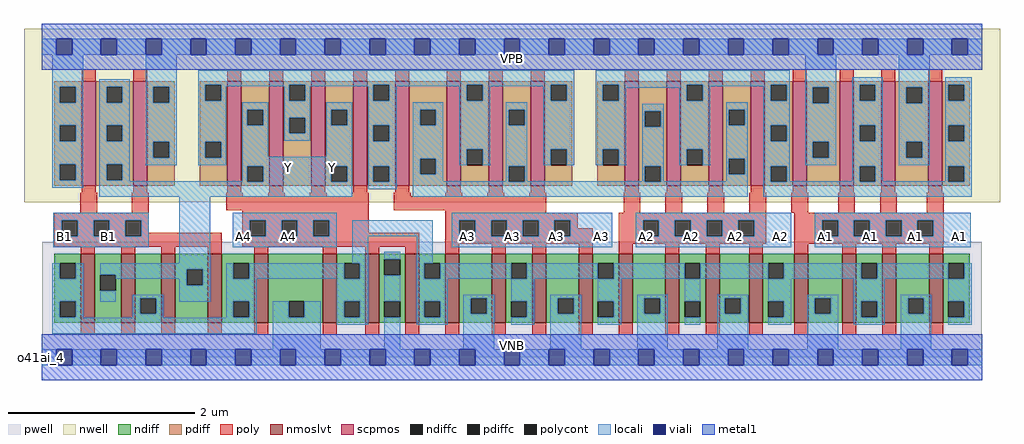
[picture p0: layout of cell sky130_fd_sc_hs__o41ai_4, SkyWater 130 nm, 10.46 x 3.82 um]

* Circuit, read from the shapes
.subckt sky130_fd_sc_hs__o41ai_4 A1 A2 A3 A4 B1 VGND VNB VPB VPWR Y
XM1 Y B1 n1 VNB sky130_fd_pr__nfet_01v8_lvt w=0.74 l=0.15 m=4
XM2 VGND A4 n1 VNB sky130_fd_pr__nfet_01v8_lvt w=0.74 l=0.15 m=4
XM3 VGND A3 n1 VNB sky130_fd_pr__nfet_01v8_lvt w=0.74 l=0.15 m=4
XM4 VGND A2 n1 VNB sky130_fd_pr__nfet_01v8_lvt w=0.74 l=0.15 m=4
XM5 VGND A1 n1 VNB sky130_fd_pr__nfet_01v8_lvt w=0.74 l=0.15 m=4
XM6 Y B1 VPWR VPB sky130_fd_pr__pfet_01v8 w=1.12 l=0.15 m=2
XM7 Y A4 n2 VPB sky130_fd_pr__pfet_01v8 w=1.12 l=0.15 m=4
XM8 n3 A3 n2 VPB sky130_fd_pr__pfet_01v8 w=1.12 l=0.15 m=4
XM9 n3 A2 n4 VPB sky130_fd_pr__pfet_01v8 w=1.12 l=0.15 m=4
XM10 VPWR A1 n4 VPB sky130_fd_pr__pfet_01v8 w=1.12 l=0.15 m=4
.ends

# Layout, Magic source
magic
tech sky130A
magscale 1 2
<< nwell >>
rect -38 332 2054 704
<< pwell >>
rect 1 49 2015 248
rect 0 0 2016 49
<< scpmos >>
rect 86 368 116 592
rect 196 368 226 592
rect 398 368 428 592
rect 488 368 518 592
rect 578 368 608 592
rect 668 368 698 592
rect 758 368 788 592
rect 868 368 898 592
rect 958 368 988 592
rect 1048 368 1078 592
rect 1250 368 1280 592
rect 1340 368 1370 592
rect 1430 368 1460 592
rect 1520 368 1550 592
rect 1610 368 1640 592
rect 1710 368 1740 592
rect 1800 368 1830 592
rect 1900 368 1930 592
<< nmoslvt >>
rect 84 74 114 222
rect 170 74 200 222
rect 256 74 286 222
rect 356 74 386 222
rect 456 74 486 222
rect 602 74 632 222
rect 693 74 723 222
rect 779 74 809 222
rect 865 74 895 222
rect 965 74 995 222
rect 1051 74 1081 222
rect 1151 74 1181 222
rect 1237 74 1267 222
rect 1337 74 1367 222
rect 1423 74 1453 222
rect 1516 74 1546 222
rect 1613 74 1643 222
rect 1716 74 1746 222
rect 1802 74 1832 222
rect 1902 74 1932 222
<< ndiff >>
rect 27 202 84 222
rect 27 168 39 202
rect 73 168 84 202
rect 27 120 84 168
rect 27 86 39 120
rect 73 86 84 120
rect 27 74 84 86
rect 114 177 170 222
rect 114 143 125 177
rect 159 143 170 177
rect 114 74 170 143
rect 200 127 256 222
rect 200 93 211 127
rect 245 93 256 127
rect 200 74 256 93
rect 286 189 356 222
rect 286 155 311 189
rect 345 155 356 189
rect 286 74 356 155
rect 386 202 456 222
rect 386 168 411 202
rect 445 168 456 202
rect 386 120 456 168
rect 386 86 411 120
rect 445 86 456 120
rect 386 74 456 86
rect 486 120 602 222
rect 486 86 529 120
rect 563 86 602 120
rect 486 74 602 86
rect 632 202 693 222
rect 632 168 648 202
rect 682 168 693 202
rect 632 120 693 168
rect 632 86 648 120
rect 682 86 693 120
rect 632 74 693 86
rect 723 210 779 222
rect 723 176 734 210
rect 768 176 779 210
rect 723 120 779 176
rect 723 86 734 120
rect 768 86 779 120
rect 723 74 779 86
rect 809 202 865 222
rect 809 168 820 202
rect 854 168 865 202
rect 809 120 865 168
rect 809 86 820 120
rect 854 86 865 120
rect 809 74 865 86
rect 895 127 965 222
rect 895 93 920 127
rect 954 93 965 127
rect 895 74 965 93
rect 995 202 1051 222
rect 995 168 1006 202
rect 1040 168 1051 202
rect 995 120 1051 168
rect 995 86 1006 120
rect 1040 86 1051 120
rect 995 74 1051 86
rect 1081 127 1151 222
rect 1081 93 1106 127
rect 1140 93 1151 127
rect 1081 74 1151 93
rect 1181 202 1237 222
rect 1181 168 1192 202
rect 1226 168 1237 202
rect 1181 120 1237 168
rect 1181 86 1192 120
rect 1226 86 1237 120
rect 1181 74 1237 86
rect 1267 127 1337 222
rect 1267 93 1292 127
rect 1326 93 1337 127
rect 1267 74 1337 93
rect 1367 202 1423 222
rect 1367 168 1378 202
rect 1412 168 1423 202
rect 1367 120 1423 168
rect 1367 86 1378 120
rect 1412 86 1423 120
rect 1367 74 1423 86
rect 1453 127 1516 222
rect 1453 93 1464 127
rect 1498 93 1516 127
rect 1453 74 1516 93
rect 1546 202 1613 222
rect 1546 168 1557 202
rect 1591 168 1613 202
rect 1546 120 1613 168
rect 1546 86 1557 120
rect 1591 86 1613 120
rect 1546 74 1613 86
rect 1643 127 1716 222
rect 1643 93 1657 127
rect 1691 93 1716 127
rect 1643 74 1716 93
rect 1746 202 1802 222
rect 1746 168 1757 202
rect 1791 168 1802 202
rect 1746 120 1802 168
rect 1746 86 1757 120
rect 1791 86 1802 120
rect 1746 74 1802 86
rect 1832 127 1902 222
rect 1832 93 1857 127
rect 1891 93 1902 127
rect 1832 74 1902 93
rect 1932 202 1989 222
rect 1932 168 1943 202
rect 1977 168 1989 202
rect 1932 120 1989 168
rect 1932 86 1943 120
rect 1977 86 1989 120
rect 1932 74 1989 86
<< pdiff >>
rect 27 580 86 592
rect 27 546 39 580
rect 73 546 86 580
rect 27 497 86 546
rect 27 463 39 497
rect 73 463 86 497
rect 27 414 86 463
rect 27 380 39 414
rect 73 380 86 414
rect 27 368 86 380
rect 116 580 196 592
rect 116 546 139 580
rect 173 546 196 580
rect 116 497 196 546
rect 116 463 139 497
rect 173 463 196 497
rect 116 414 196 463
rect 116 380 139 414
rect 173 380 196 414
rect 116 368 196 380
rect 226 580 285 592
rect 226 546 239 580
rect 273 546 285 580
rect 226 462 285 546
rect 226 428 239 462
rect 273 428 285 462
rect 226 368 285 428
rect 339 584 398 592
rect 339 550 351 584
rect 385 550 398 584
rect 339 462 398 550
rect 339 428 351 462
rect 385 428 398 462
rect 339 368 398 428
rect 428 531 488 592
rect 428 497 441 531
rect 475 497 488 531
rect 428 410 488 497
rect 428 376 441 410
rect 475 376 488 410
rect 428 368 488 376
rect 518 584 578 592
rect 518 550 531 584
rect 565 550 578 584
rect 518 514 578 550
rect 518 480 531 514
rect 565 480 578 514
rect 518 368 578 480
rect 608 531 668 592
rect 608 497 621 531
rect 655 497 668 531
rect 608 410 668 497
rect 608 376 621 410
rect 655 376 668 410
rect 608 368 668 376
rect 698 584 758 592
rect 698 550 711 584
rect 745 550 758 584
rect 698 497 758 550
rect 698 463 711 497
rect 745 463 758 497
rect 698 410 758 463
rect 698 376 711 410
rect 745 376 758 410
rect 698 368 758 376
rect 788 531 868 592
rect 788 497 811 531
rect 845 497 868 531
rect 788 426 868 497
rect 788 392 811 426
rect 845 392 868 426
rect 788 368 868 392
rect 898 584 958 592
rect 898 550 911 584
rect 945 550 958 584
rect 898 446 958 550
rect 898 412 911 446
rect 945 412 958 446
rect 898 368 958 412
rect 988 531 1048 592
rect 988 497 1001 531
rect 1035 497 1048 531
rect 988 410 1048 497
rect 988 376 1001 410
rect 1035 376 1048 410
rect 988 368 1048 376
rect 1078 584 1137 592
rect 1078 550 1091 584
rect 1125 550 1137 584
rect 1078 446 1137 550
rect 1078 412 1091 446
rect 1125 412 1137 446
rect 1078 368 1137 412
rect 1191 584 1250 592
rect 1191 550 1203 584
rect 1237 550 1250 584
rect 1191 446 1250 550
rect 1191 412 1203 446
rect 1237 412 1250 446
rect 1191 368 1250 412
rect 1280 528 1340 592
rect 1280 494 1293 528
rect 1327 494 1340 528
rect 1280 410 1340 494
rect 1280 376 1293 410
rect 1327 376 1340 410
rect 1280 368 1340 376
rect 1370 584 1430 592
rect 1370 550 1383 584
rect 1417 550 1430 584
rect 1370 446 1430 550
rect 1370 412 1383 446
rect 1417 412 1430 446
rect 1370 368 1430 412
rect 1460 531 1520 592
rect 1460 497 1473 531
rect 1507 497 1520 531
rect 1460 426 1520 497
rect 1460 392 1473 426
rect 1507 392 1520 426
rect 1460 368 1520 392
rect 1550 584 1610 592
rect 1550 550 1563 584
rect 1597 550 1610 584
rect 1550 497 1610 550
rect 1550 463 1563 497
rect 1597 463 1610 497
rect 1550 410 1610 463
rect 1550 376 1563 410
rect 1597 376 1610 410
rect 1550 368 1610 376
rect 1640 579 1710 592
rect 1640 545 1653 579
rect 1687 545 1710 579
rect 1640 462 1710 545
rect 1640 428 1653 462
rect 1687 428 1710 462
rect 1640 368 1710 428
rect 1740 584 1800 592
rect 1740 550 1753 584
rect 1787 550 1800 584
rect 1740 497 1800 550
rect 1740 463 1753 497
rect 1787 463 1800 497
rect 1740 410 1800 463
rect 1740 376 1753 410
rect 1787 376 1800 410
rect 1740 368 1800 376
rect 1830 579 1900 592
rect 1830 545 1853 579
rect 1887 545 1900 579
rect 1830 462 1900 545
rect 1830 428 1853 462
rect 1887 428 1900 462
rect 1830 368 1900 428
rect 1930 584 1989 592
rect 1930 550 1943 584
rect 1977 550 1989 584
rect 1930 497 1989 550
rect 1930 463 1943 497
rect 1977 463 1989 497
rect 1930 410 1989 463
rect 1930 376 1943 410
rect 1977 376 1989 410
rect 1930 368 1989 376
<< ndiffc >>
rect 39 168 73 202
rect 39 86 73 120
rect 125 143 159 177
rect 211 93 245 127
rect 311 155 345 189
rect 411 168 445 202
rect 411 86 445 120
rect 529 86 563 120
rect 648 168 682 202
rect 648 86 682 120
rect 734 176 768 210
rect 734 86 768 120
rect 820 168 854 202
rect 820 86 854 120
rect 920 93 954 127
rect 1006 168 1040 202
rect 1006 86 1040 120
rect 1106 93 1140 127
rect 1192 168 1226 202
rect 1192 86 1226 120
rect 1292 93 1326 127
rect 1378 168 1412 202
rect 1378 86 1412 120
rect 1464 93 1498 127
rect 1557 168 1591 202
rect 1557 86 1591 120
rect 1657 93 1691 127
rect 1757 168 1791 202
rect 1757 86 1791 120
rect 1857 93 1891 127
rect 1943 168 1977 202
rect 1943 86 1977 120
<< pdiffc >>
rect 39 546 73 580
rect 39 463 73 497
rect 39 380 73 414
rect 139 546 173 580
rect 139 463 173 497
rect 139 380 173 414
rect 239 546 273 580
rect 239 428 273 462
rect 351 550 385 584
rect 351 428 385 462
rect 441 497 475 531
rect 441 376 475 410
rect 531 550 565 584
rect 531 480 565 514
rect 621 497 655 531
rect 621 376 655 410
rect 711 550 745 584
rect 711 463 745 497
rect 711 376 745 410
rect 811 497 845 531
rect 811 392 845 426
rect 911 550 945 584
rect 911 412 945 446
rect 1001 497 1035 531
rect 1001 376 1035 410
rect 1091 550 1125 584
rect 1091 412 1125 446
rect 1203 550 1237 584
rect 1203 412 1237 446
rect 1293 494 1327 528
rect 1293 376 1327 410
rect 1383 550 1417 584
rect 1383 412 1417 446
rect 1473 497 1507 531
rect 1473 392 1507 426
rect 1563 550 1597 584
rect 1563 463 1597 497
rect 1563 376 1597 410
rect 1653 545 1687 579
rect 1653 428 1687 462
rect 1753 550 1787 584
rect 1753 463 1787 497
rect 1753 376 1787 410
rect 1853 545 1887 579
rect 1853 428 1887 462
rect 1943 550 1977 584
rect 1943 463 1977 497
rect 1943 376 1977 410
<< poly >>
rect 86 592 116 618
rect 196 592 226 618
rect 398 592 428 618
rect 488 592 518 618
rect 578 592 608 618
rect 668 592 698 618
rect 758 592 788 618
rect 868 592 898 618
rect 958 592 988 618
rect 1048 592 1078 618
rect 1250 592 1280 618
rect 1340 592 1370 618
rect 1430 592 1460 618
rect 1520 592 1550 618
rect 1610 592 1640 618
rect 1710 592 1740 618
rect 1800 592 1830 618
rect 1900 592 1930 618
rect 86 353 116 368
rect 196 353 226 368
rect 398 353 428 368
rect 488 353 518 368
rect 578 353 608 368
rect 668 353 698 368
rect 758 353 788 368
rect 868 353 898 368
rect 958 353 988 368
rect 1048 353 1078 368
rect 1250 353 1280 368
rect 1340 353 1370 368
rect 1430 353 1460 368
rect 1520 353 1550 368
rect 1610 353 1640 368
rect 1710 353 1740 368
rect 1800 353 1830 368
rect 1900 353 1930 368
rect 83 310 119 353
rect 193 310 229 353
rect 395 345 431 353
rect 485 345 521 353
rect 575 345 611 353
rect 665 345 701 353
rect 395 315 701 345
rect 755 345 791 353
rect 865 345 901 353
rect 955 345 991 353
rect 1045 345 1081 353
rect 755 315 1081 345
rect 27 294 229 310
rect 27 260 43 294
rect 77 260 111 294
rect 145 260 179 294
rect 213 267 229 294
rect 430 294 701 315
rect 213 260 386 267
rect 27 237 386 260
rect 430 260 446 294
rect 480 260 514 294
rect 548 260 582 294
rect 616 267 701 294
rect 865 310 1081 315
rect 1247 310 1283 353
rect 1337 310 1373 353
rect 1427 310 1463 353
rect 1517 310 1553 353
rect 1607 310 1643 353
rect 1707 310 1743 353
rect 1797 310 1833 353
rect 1897 310 1933 353
rect 865 294 1149 310
rect 616 260 809 267
rect 430 237 809 260
rect 84 222 114 237
rect 170 222 200 237
rect 256 222 286 237
rect 356 222 386 237
rect 456 222 486 237
rect 602 222 632 237
rect 693 222 723 237
rect 779 222 809 237
rect 865 260 895 294
rect 929 260 963 294
rect 997 260 1031 294
rect 1065 260 1099 294
rect 1133 277 1149 294
rect 1237 294 1553 310
rect 1133 260 1181 277
rect 865 244 1181 260
rect 865 222 895 244
rect 965 222 995 244
rect 1051 222 1081 244
rect 1151 222 1181 244
rect 1237 260 1289 294
rect 1323 260 1357 294
rect 1391 260 1425 294
rect 1459 260 1493 294
rect 1527 260 1553 294
rect 1237 244 1553 260
rect 1613 294 1933 310
rect 1613 260 1673 294
rect 1707 260 1741 294
rect 1775 260 1809 294
rect 1843 260 1877 294
rect 1911 260 1933 294
rect 1613 244 1933 260
rect 1237 222 1267 244
rect 1337 222 1367 244
rect 1423 222 1453 244
rect 1516 222 1546 244
rect 1613 222 1643 244
rect 1716 222 1746 244
rect 1802 222 1832 244
rect 1902 222 1932 244
rect 84 48 114 74
rect 170 48 200 74
rect 256 48 286 74
rect 356 48 386 74
rect 456 48 486 74
rect 602 48 632 74
rect 693 48 723 74
rect 779 48 809 74
rect 865 48 895 74
rect 965 48 995 74
rect 1051 48 1081 74
rect 1151 48 1181 74
rect 1237 48 1267 74
rect 1337 48 1367 74
rect 1423 48 1453 74
rect 1516 48 1546 74
rect 1613 48 1643 74
rect 1716 48 1746 74
rect 1802 48 1832 74
rect 1902 48 1932 74
<< polycont >>
rect 43 260 77 294
rect 111 260 145 294
rect 179 260 213 294
rect 446 260 480 294
rect 514 260 548 294
rect 582 260 616 294
rect 895 260 929 294
rect 963 260 997 294
rect 1031 260 1065 294
rect 1099 260 1133 294
rect 1289 260 1323 294
rect 1357 260 1391 294
rect 1425 260 1459 294
rect 1493 260 1527 294
rect 1673 260 1707 294
rect 1741 260 1775 294
rect 1809 260 1843 294
rect 1877 260 1911 294
<< locali >>
rect 0 649 31 683
rect 65 649 127 683
rect 161 649 223 683
rect 257 649 319 683
rect 353 649 415 683
rect 449 649 511 683
rect 545 649 607 683
rect 641 649 703 683
rect 737 649 799 683
rect 833 649 895 683
rect 929 649 991 683
rect 1025 649 1087 683
rect 1121 649 1183 683
rect 1217 649 1279 683
rect 1313 649 1375 683
rect 1409 649 1471 683
rect 1505 649 1567 683
rect 1601 649 1663 683
rect 1697 649 1759 683
rect 1793 649 1855 683
rect 1889 649 1951 683
rect 1985 649 2016 683
rect 23 580 89 649
rect 23 546 39 580
rect 73 546 89 580
rect 23 497 89 546
rect 23 463 39 497
rect 73 463 89 497
rect 23 414 89 463
rect 23 380 39 414
rect 73 380 89 414
rect 23 364 89 380
rect 123 580 189 596
rect 123 546 139 580
rect 173 546 189 580
rect 123 497 189 546
rect 123 463 139 497
rect 173 463 189 497
rect 123 414 189 463
rect 123 380 139 414
rect 173 380 189 414
rect 223 580 289 649
rect 223 546 239 580
rect 273 546 289 580
rect 223 462 289 546
rect 223 428 239 462
rect 273 428 289 462
rect 223 412 289 428
rect 335 584 1141 615
rect 335 550 351 584
rect 385 581 531 584
rect 385 550 396 581
rect 335 462 396 550
rect 520 550 531 581
rect 565 581 711 584
rect 565 550 576 581
rect 335 428 351 462
rect 385 428 396 462
rect 335 412 396 428
rect 430 531 486 547
rect 430 497 441 531
rect 475 497 486 531
rect 430 430 486 497
rect 520 514 576 550
rect 700 550 711 581
rect 745 581 911 584
rect 745 550 761 581
rect 520 480 531 514
rect 565 480 576 514
rect 520 464 576 480
rect 610 531 666 547
rect 610 497 621 531
rect 655 497 666 531
rect 610 430 666 497
rect 123 378 189 380
rect 430 410 666 430
rect 430 378 441 410
rect 123 376 441 378
rect 475 376 621 410
rect 655 376 666 410
rect 123 344 666 376
rect 700 497 761 550
rect 895 550 911 581
rect 945 581 1091 584
rect 945 550 961 581
rect 700 463 711 497
rect 745 463 761 497
rect 700 410 761 463
rect 700 376 711 410
rect 745 376 761 410
rect 700 360 761 376
rect 795 531 861 547
rect 795 497 811 531
rect 845 497 861 531
rect 795 426 861 497
rect 795 392 811 426
rect 845 392 861 426
rect 895 446 961 550
rect 1075 550 1091 581
rect 1125 550 1141 584
rect 895 412 911 446
rect 945 412 961 446
rect 995 531 1041 547
rect 995 497 1001 531
rect 1035 497 1041 531
rect 795 378 861 392
rect 995 410 1041 497
rect 1075 446 1141 550
rect 1075 412 1091 446
rect 1125 412 1141 446
rect 1187 584 1603 615
rect 1187 550 1203 584
rect 1237 578 1383 584
rect 1237 550 1253 578
rect 1187 446 1253 550
rect 1367 550 1383 578
rect 1417 581 1563 584
rect 1417 550 1433 581
rect 1187 412 1203 446
rect 1237 412 1253 446
rect 1287 528 1333 544
rect 1287 494 1293 528
rect 1327 494 1333 528
rect 995 378 1001 410
rect 795 376 1001 378
rect 1035 378 1041 410
rect 1287 410 1333 494
rect 1367 446 1433 550
rect 1547 550 1563 581
rect 1597 550 1603 584
rect 1367 412 1383 446
rect 1417 412 1433 446
rect 1467 531 1513 547
rect 1467 497 1473 531
rect 1507 497 1513 531
rect 1467 426 1513 497
rect 1287 378 1293 410
rect 1035 376 1293 378
rect 1327 378 1333 410
rect 1467 392 1473 426
rect 1507 392 1513 426
rect 1467 378 1513 392
rect 1327 376 1513 378
rect 795 344 1513 376
rect 1547 497 1603 550
rect 1547 463 1563 497
rect 1597 463 1603 497
rect 1547 410 1603 463
rect 1637 579 1703 649
rect 1637 545 1653 579
rect 1687 545 1703 579
rect 1637 462 1703 545
rect 1637 428 1653 462
rect 1687 428 1703 462
rect 1637 412 1703 428
rect 1737 584 1803 600
rect 1737 550 1753 584
rect 1787 550 1803 584
rect 1737 497 1803 550
rect 1737 463 1753 497
rect 1787 463 1803 497
rect 1547 376 1563 410
rect 1597 378 1603 410
rect 1737 410 1803 463
rect 1837 579 1903 649
rect 1837 545 1853 579
rect 1887 545 1903 579
rect 1837 462 1903 545
rect 1837 428 1853 462
rect 1887 428 1903 462
rect 1837 412 1903 428
rect 1937 584 1993 600
rect 1937 550 1943 584
rect 1977 550 1993 584
rect 1937 497 1993 550
rect 1937 463 1943 497
rect 1977 463 1993 497
rect 1737 378 1753 410
rect 1597 376 1753 378
rect 1787 378 1803 410
rect 1937 410 1993 463
rect 1937 378 1943 410
rect 1787 376 1943 378
rect 1977 376 1993 410
rect 1547 344 1993 376
rect 25 294 229 310
rect 25 260 43 294
rect 77 260 111 294
rect 145 260 179 294
rect 213 260 229 294
rect 25 236 229 260
rect 295 202 361 344
rect 409 294 632 310
rect 879 294 1223 310
rect 409 260 446 294
rect 480 260 514 294
rect 548 260 582 294
rect 616 260 632 294
rect 409 236 632 260
rect 666 260 838 294
rect 666 202 700 260
rect 23 168 39 202
rect 73 168 89 202
rect 23 120 89 168
rect 23 86 39 120
rect 73 86 89 120
rect 125 189 361 202
rect 125 177 311 189
rect 159 168 311 177
rect 125 119 159 143
rect 295 155 311 168
rect 345 155 361 189
rect 195 127 261 134
rect 23 85 89 86
rect 195 93 211 127
rect 245 93 261 127
rect 295 119 361 155
rect 395 168 411 202
rect 445 168 648 202
rect 682 168 700 202
rect 395 120 461 168
rect 632 120 700 168
rect 195 85 261 93
rect 395 86 411 120
rect 445 86 461 120
rect 395 85 461 86
rect 23 51 461 85
rect 495 86 529 120
rect 563 86 598 120
rect 495 17 598 86
rect 632 86 648 120
rect 682 86 700 120
rect 632 70 700 86
rect 734 210 768 226
rect 734 120 768 176
rect 734 17 768 86
rect 804 202 838 260
rect 879 260 895 294
rect 929 260 963 294
rect 997 260 1031 294
rect 1065 260 1099 294
rect 1133 260 1223 294
rect 879 236 1223 260
rect 1273 294 1607 310
rect 1273 260 1289 294
rect 1323 260 1357 294
rect 1391 260 1425 294
rect 1459 260 1493 294
rect 1527 260 1607 294
rect 1273 236 1607 260
rect 1657 294 1991 310
rect 1657 260 1673 294
rect 1707 260 1741 294
rect 1775 260 1809 294
rect 1843 260 1877 294
rect 1911 260 1991 294
rect 1657 236 1991 260
rect 804 168 820 202
rect 854 168 1006 202
rect 1040 168 1192 202
rect 1226 168 1378 202
rect 1412 168 1557 202
rect 1591 168 1757 202
rect 1791 168 1943 202
rect 1977 168 1993 202
rect 804 120 870 168
rect 804 86 820 120
rect 854 86 870 120
rect 804 70 870 86
rect 904 127 970 134
rect 904 93 920 127
rect 954 93 970 127
rect 904 17 970 93
rect 1006 120 1056 168
rect 1040 86 1056 120
rect 1006 70 1056 86
rect 1090 127 1156 134
rect 1090 93 1106 127
rect 1140 93 1156 127
rect 1090 17 1156 93
rect 1192 120 1242 168
rect 1226 86 1242 120
rect 1192 70 1242 86
rect 1276 127 1342 134
rect 1276 93 1292 127
rect 1326 93 1342 127
rect 1276 17 1342 93
rect 1378 120 1412 168
rect 1378 70 1412 86
rect 1448 127 1514 134
rect 1448 93 1464 127
rect 1498 93 1514 127
rect 1448 17 1514 93
rect 1557 120 1607 168
rect 1591 86 1607 120
rect 1557 70 1607 86
rect 1641 127 1707 134
rect 1641 93 1657 127
rect 1691 93 1707 127
rect 1641 17 1707 93
rect 1741 120 1807 168
rect 1741 86 1757 120
rect 1791 86 1807 120
rect 1741 70 1807 86
rect 1841 127 1907 134
rect 1841 93 1857 127
rect 1891 93 1907 127
rect 1841 17 1907 93
rect 1943 120 1993 168
rect 1977 86 1993 120
rect 1943 70 1993 86
rect 0 -17 31 17
rect 65 -17 127 17
rect 161 -17 223 17
rect 257 -17 319 17
rect 353 -17 415 17
rect 449 -17 511 17
rect 545 -17 607 17
rect 641 -17 703 17
rect 737 -17 799 17
rect 833 -17 895 17
rect 929 -17 991 17
rect 1025 -17 1087 17
rect 1121 -17 1183 17
rect 1217 -17 1279 17
rect 1313 -17 1375 17
rect 1409 -17 1471 17
rect 1505 -17 1567 17
rect 1601 -17 1663 17
rect 1697 -17 1759 17
rect 1793 -17 1855 17
rect 1889 -17 1951 17
rect 1985 -17 2016 17
<< viali >>
rect 31 649 65 683
rect 127 649 161 683
rect 223 649 257 683
rect 319 649 353 683
rect 415 649 449 683
rect 511 649 545 683
rect 607 649 641 683
rect 703 649 737 683
rect 799 649 833 683
rect 895 649 929 683
rect 991 649 1025 683
rect 1087 649 1121 683
rect 1183 649 1217 683
rect 1279 649 1313 683
rect 1375 649 1409 683
rect 1471 649 1505 683
rect 1567 649 1601 683
rect 1663 649 1697 683
rect 1759 649 1793 683
rect 1855 649 1889 683
rect 1951 649 1985 683
rect 31 -17 65 17
rect 127 -17 161 17
rect 223 -17 257 17
rect 319 -17 353 17
rect 415 -17 449 17
rect 511 -17 545 17
rect 607 -17 641 17
rect 703 -17 737 17
rect 799 -17 833 17
rect 895 -17 929 17
rect 991 -17 1025 17
rect 1087 -17 1121 17
rect 1183 -17 1217 17
rect 1279 -17 1313 17
rect 1375 -17 1409 17
rect 1471 -17 1505 17
rect 1567 -17 1601 17
rect 1663 -17 1697 17
rect 1759 -17 1793 17
rect 1855 -17 1889 17
rect 1951 -17 1985 17
<< metal1 >>
rect 0 683 2016 715
rect 0 649 31 683
rect 65 649 127 683
rect 161 649 223 683
rect 257 649 319 683
rect 353 649 415 683
rect 449 649 511 683
rect 545 649 607 683
rect 641 649 703 683
rect 737 649 799 683
rect 833 649 895 683
rect 929 649 991 683
rect 1025 649 1087 683
rect 1121 649 1183 683
rect 1217 649 1279 683
rect 1313 649 1375 683
rect 1409 649 1471 683
rect 1505 649 1567 683
rect 1601 649 1663 683
rect 1697 649 1759 683
rect 1793 649 1855 683
rect 1889 649 1951 683
rect 1985 649 2016 683
rect 0 617 2016 649
rect 0 17 2016 49
rect 0 -17 31 17
rect 65 -17 127 17
rect 161 -17 223 17
rect 257 -17 319 17
rect 353 -17 415 17
rect 449 -17 511 17
rect 545 -17 607 17
rect 641 -17 703 17
rect 737 -17 799 17
rect 833 -17 895 17
rect 929 -17 991 17
rect 1025 -17 1087 17
rect 1121 -17 1183 17
rect 1217 -17 1279 17
rect 1313 -17 1375 17
rect 1409 -17 1471 17
rect 1505 -17 1567 17
rect 1601 -17 1663 17
rect 1697 -17 1759 17
rect 1793 -17 1855 17
rect 1889 -17 1951 17
rect 1985 -17 2016 17
rect 0 -49 2016 -17
<< labels >>
rlabel comment s 0 0 0 0 4 o41ai_4
flabel pwell s 0 0 2016 49 0 FreeSans 200 0 0 0 VNB
port 7 nsew ground bidirectional
flabel nwell s 0 617 2016 666 0 FreeSans 200 0 0 0 VPB
port 8 nsew power bidirectional
flabel metal1 s 0 617 2016 666 0 FreeSans 340 0 0 0 VPWR
port 9 nsew power bidirectional
flabel metal1 s 0 0 2016 49 0 FreeSans 340 0 0 0 VGND
port 6 nsew ground bidirectional
flabel locali s 1663 242 1697 276 0 FreeSans 340 0 0 0 A1
port 1 nsew signal input
flabel locali s 1759 242 1793 276 0 FreeSans 340 0 0 0 A1
port 1 nsew signal input
flabel locali s 1855 242 1889 276 0 FreeSans 340 0 0 0 A1
port 1 nsew signal input
flabel locali s 1951 242 1985 276 0 FreeSans 340 0 0 0 A1
port 1 nsew signal input
flabel locali s 1279 242 1313 276 0 FreeSans 340 0 0 0 A2
port 2 nsew signal input
flabel locali s 1375 242 1409 276 0 FreeSans 340 0 0 0 A2
port 2 nsew signal input
flabel locali s 1471 242 1505 276 0 FreeSans 340 0 0 0 A2
port 2 nsew signal input
flabel locali s 1567 242 1601 276 0 FreeSans 340 0 0 0 A2
port 2 nsew signal input
flabel locali s 895 242 929 276 0 FreeSans 340 0 0 0 A3
port 3 nsew signal input
flabel locali s 991 242 1025 276 0 FreeSans 340 0 0 0 A3
port 3 nsew signal input
flabel locali s 1087 242 1121 276 0 FreeSans 340 0 0 0 A3
port 3 nsew signal input
flabel locali s 1183 242 1217 276 0 FreeSans 340 0 0 0 A3
port 3 nsew signal input
flabel locali s 415 242 449 276 0 FreeSans 340 0 0 0 A4
port 4 nsew signal input
flabel locali s 511 242 545 276 0 FreeSans 340 0 0 0 A4
port 4 nsew signal input
flabel locali s 31 242 65 276 0 FreeSans 340 0 0 0 B1
port 5 nsew signal input
flabel locali s 127 242 161 276 0 FreeSans 340 0 0 0 B1
port 5 nsew signal input
flabel locali s 511 390 545 424 0 FreeSans 340 0 0 0 Y
port 10 nsew signal output
flabel locali s 607 390 641 424 0 FreeSans 340 0 0 0 Y
port 10 nsew signal output
<< properties >>
string LEFsite unit
string LEFclass CORE
string FIXED_BBOX 0 0 2016 666
string GDS_FILE $PDKPATH/libs.ref/sky130_fd_sc_hs/gds/sky130_fd_sc_hs.gds
string LEFsymmetry X Y
string GDS_END 3688602
string GDS_START 3671872
<< end >>
